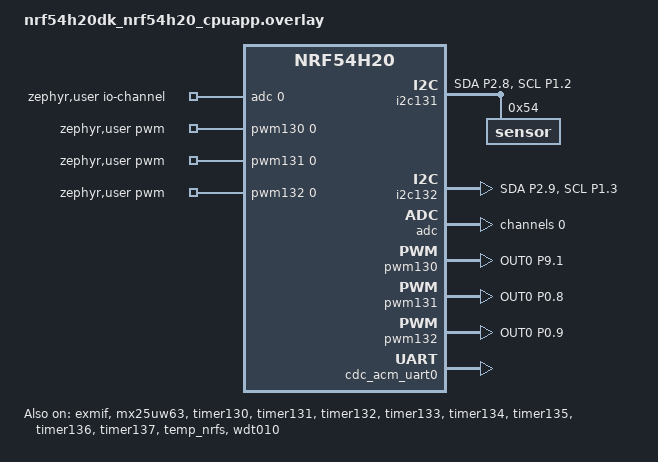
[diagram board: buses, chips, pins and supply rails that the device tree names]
/*
 * Copyright (c) 2026 Nordic Semiconductor ASA
 *
 * SPDX-License-Identifier: LicenseRef-Nordic-5-Clause
 */

/ {
	aliases {
		dut-flash = &mx25uw63;
		test-gpio = &led0;
		watchdog0 = &wdt010;
		/delete-property/ pwm_led1;
	};

	zephyr,user {
		io-channels = <&adc 0>;
		pwms = <&pwm130 0 PWM_MSEC(10) PWM_POLARITY_NORMAL>,
		       <&pwm131 0 PWM_MSEC(10) PWM_POLARITY_NORMAL>,
		       <&pwm132 0 PWM_MSEC(10) PWM_POLARITY_NORMAL>;
	};
};

&pinctrl {
	i2c131_default_alt: i2c131_default_alt {
		group1 {
			psels = <NRF_PSEL(TWIM_SDA, 2, 8)>,
				<NRF_PSEL(TWIM_SCL, 1, 2)>;
		};
	};

	i2c131_sleep_alt: i2c131_sleep_alt {
		group1 {
			psels = <NRF_PSEL(TWIM_SDA, 2, 8)>,
				<NRF_PSEL(TWIM_SCL, 1, 2)>;
			low-power-enable;
		};
	};

	i2c132_default_alt: i2c132_default_alt {
		group1 {
			psels = <NRF_PSEL(TWIM_SDA, 2, 9)>,
				<NRF_PSEL(TWIM_SCL, 1, 3)>;
			bias-pull-up;
		};
	};

	i2c132_sleep_alt: i2c132_sleep_alt {
		group1 {
			psels = <NRF_PSEL(TWIM_SDA, 2, 9)>,
				<NRF_PSEL(TWIM_SCL, 1, 3)>;
			low-power-enable;
		};
	};

	pwm130_default_alt: pwm130_default_alt {
		group1 {
			psels = <NRF_PSEL(PWM_OUT0, 9, 1)>;
		};
	};

	pwm130_sleep_alt: pwm130_sleep_alt {
		group1 {
			psels = <NRF_PSEL(PWM_OUT0, 9, 1)>;
			low-power-enable;
		};
	};

	pwm131_default_alt: pwm131_default_alt {
		group1 {
			psels = <NRF_PSEL(PWM_OUT0, 0, 8)>;
		};
	};

	pwm131_sleep_alt: pwm131_sleep_alt {
		group1 {
			psels = <NRF_PSEL(PWM_OUT0, 0, 8)>;
			low-power-enable;
		};
	};

	pwm132_default_alt: pwm132_default_alt {
		group1 {
			psels = <NRF_PSEL(PWM_OUT0, 0, 9)>;
		};
	};

	pwm132_sleep_alt: pwm132_sleep_alt {
		group1 {
			psels = <NRF_PSEL(PWM_OUT0, 0, 9)>;
			low-power-enable;
		};
	};
};

dut_twim: &i2c131 {
	compatible = "nordic,nrf-twim";
	status = "okay";
	pinctrl-0 = <&i2c131_default_alt>;
	pinctrl-1 = <&i2c131_sleep_alt>;
	pinctrl-names = "default", "sleep";
	memory-regions = <&cpuapp_dma_region>;
	zephyr,concat-buf-size = <512>;

	sensor: sensor@54 {
		reg = <0x54>;
	};
};

dut_twis: &i2c132 {
	compatible = "nordic,nrf-twis";
	status = "okay";
	pinctrl-0 = <&i2c132_default_alt>;
	pinctrl-1 = <&i2c132_sleep_alt>;
	pinctrl-names = "default", "sleep";
	memory-regions = <&cpuapp_dma_region>;
};

&gpio6 {
	status = "okay";
	zephyr,pm-device-runtime-auto;
};

&exmif {
	status = "okay";
	zephyr,pm-device-runtime-auto;
};

&mx25uw63 {
	status = "okay";
};

&adc {
	#address-cells = <1>;
	#size-cells = <0>;

	channel@0 {
		reg = <0>;
		zephyr,gain = "ADC_GAIN_1";
		zephyr,reference = "ADC_REF_INTERNAL";
		zephyr,acquisition-time = <ADC_ACQ_TIME(ADC_ACQ_TIME_MICROSECONDS, 10)>;
		zephyr,input-positive = <NRF_SAADC_AIN0>; /* P1.00 */
		zephyr,resolution = <10>;
	};
};

&timer130 {
	status = "okay";
};

&timer131 {
	status = "okay";
};

&timer132 {
	status = "okay";
};

&timer133 {
	status = "okay";
};

&timer134 {
	status = "okay";
};

&timer135 {
	status = "okay";
};

&timer136 {
	status = "okay";
};

&timer137 {
	status = "okay";
};

&pwm130 {
	status = "okay";
	pinctrl-0 = <&pwm130_default_alt>;
	pinctrl-1 = <&pwm130_sleep_alt>;
	pinctrl-names = "default", "sleep";
	memory-regions = <&cpuapp_dma_region>;
};

&pwm131 {
	status = "okay";
	pinctrl-0 = <&pwm131_default_alt>;
	pinctrl-1 = <&pwm131_sleep_alt>;
	pinctrl-names = "default", "sleep";
	memory-regions = <&cpuapp_dma_region>;
};

&pwm132 {
	status = "okay";
	pinctrl-0 = <&pwm132_default_alt>;
	pinctrl-1 = <&pwm132_sleep_alt>;
	pinctrl-names = "default", "sleep";
	memory-regions = <&cpuapp_dma_region>;
};

temp_sensor: &temp_nrfs {
	status = "okay";
};

&gpio9 {
	status = "okay";
};

&wdt010 {
	status = "okay";
};

&zephyr_udc0 {
	cdc_acm_uart0 {
		compatible = "zephyr,cdc-acm-uart";
	};
};
